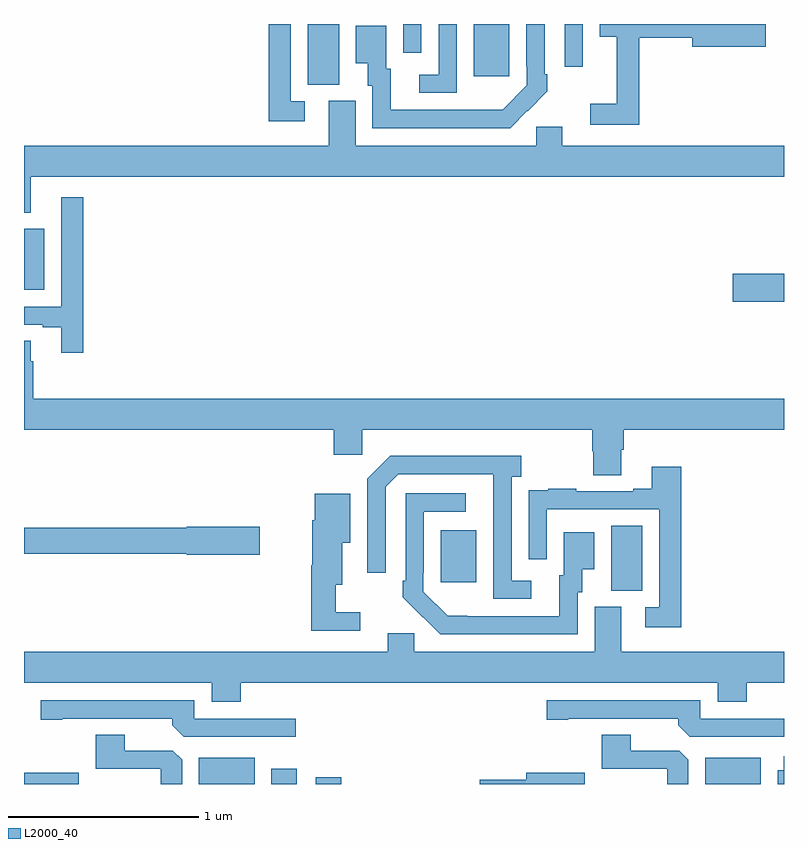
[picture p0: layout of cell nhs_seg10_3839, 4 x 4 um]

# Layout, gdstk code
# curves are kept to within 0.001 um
import gdstk
lib = gdstk.Library(unit=1e-6, precision=1e-09)
def R(c, l, rs):  # rectangles x0, y0, x1, y1
    for r in rs: c.add(gdstk.rectangle(r[:2], r[2:], *l))
def P(c, l, *ps):  # polygons
    for p in ps: c.add(gdstk.Polygon(p, *l))
L2000_40 = (2000, 40)

nhs_seg10_3839 = lib.new_cell('nhs_seg10_3839')
R(nhs_seg10_3839, L2000_40, [(323,1250.5,323.287,1250.56), (323.921,1250.5,324.214,1250.638), (324.302,1250.5,324.436,1250.581), (324.536,1250.5,324.671,1250.536), (326.585,1250.5,326.878,1250.638), (326.09,1251.517,326.254,1251.86), (325.193,1251.561,325.381,1251.835), (326.73,1253.039,327,1253.186), (323,1253.102,323.107,1253.422), (324.494,1254.181,324.658,1254.5), (325.367,1254.225,325.555,1254.499), (325.845,1254.276,325.941,1254.5), (324.996,1254.348,325.092,1254.5)])
P(nhs_seg10_3839, L2000_40, [(325.278,1254.5),(325.182,1254.5),(325.182,1254.234),(325.08,1254.234),(325.08,1254.138),(325.278,1254.138)],
  [(324.478,1254.093),(324.405,1254.093),(324.405,1254.5),(324.289,1254.5),(324.289,1253.988),(324.478,1253.988)],
  [(325.649,1254.043),(325.65,1254.042),(325.755,1254.147),(325.755,1254.235),(325.74,1254.235),(325.74,1254.5),(325.644,1254.5),(325.644,1254.277),(325.647,1254.277),(325.647,1254.177),(325.519,1254.049),(324.931,1254.048),(324.931,1254.264),(324.907,1254.264),(324.907,1254.49),(324.746,1254.49),(324.746,1254.293),(324.809,1254.293),(324.809,1254.174),(324.834,1254.174),(324.834,1253.952),(325.558,1253.952)],
  [(326.237,1254.427),(326.516,1254.427),(326.516,1254.38),(326.905,1254.38),(326.905,1254.5),(326.03,1254.5),(326.03,1254.434),(326.12,1254.434),(326.12,1254.079),(325.98,1254.079),(325.98,1253.97),(326.237,1253.97)],
  [(323.035,1253.696),(327,1253.696),(327,1253.86),(325.834,1253.86),(325.834,1253.958),(325.695,1253.958),(325.695,1253.86),(324.745,1253.86),(324.745,1254.096),(324.605,1254.096),(324.605,1253.86),(323,1253.86),(323,1253.507),(323.035,1253.507)],
  [(323.312,1253.587),(323.196,1253.587),(323.196,1253.013),(323,1253.013),(323,1252.917),(323.099,1252.917),(323.099,1252.905),(323.195,1252.905),(323.195,1252.77),(323.312,1252.77)],
  [(326.143,1252.258),(326.156,1252.258),(326.156,1252.364),(327,1252.364),(327,1252.528),(323.048,1252.528),(323.048,1252.724),(323.035,1252.724),(323.035,1252.832),(323,1252.832),(323,1252.364),(324.629,1252.364),(324.629,1252.233),(324.78,1252.233),(324.78,1252.364),(325.991,1252.364),(325.991,1252.251),(325.996,1252.251),(325.996,1252.126),(326.143,1252.126)],
  [(325.669,1251.57),(325.566,1251.57),(325.566,1252.118),(325.618,1252.118),(325.618,1252.228),(324.928,1252.228),(324.807,1252.107),(324.807,1251.612),(324.903,1251.612),(324.903,1252.065),(324.969,1252.131),(325.469,1252.131),(325.47,1251.474),(325.669,1251.474)],
  [(326.459,1252.171),(326.303,1252.171),(326.303,1252.054),(326.207,1252.054),(326.207,1252.041),(325.907,1252.041),(325.907,1252.054),(325.759,1252.054),(325.759,1252.047),(325.657,1252.047),(325.657,1251.938),(325.656,1251.938),(325.656,1251.684),(325.752,1251.684),(325.752,1251.945),(326.343,1251.945),(326.343,1251.429),(326.271,1251.429),(326.271,1251.324),(326.459,1251.324)],
  [(325.914,1251.51),(325.939,1251.51),(325.939,1251.629),(326.002,1251.629),(326.002,1251.826),(325.841,1251.826),(325.841,1251.6),(325.817,1251.6),(325.817,1251.384),(325.23,1251.385),(325.101,1251.513),(325.101,1251.613),(325.104,1251.613),(325.104,1251.933),(325.324,1251.933),(325.324,1252.029),(325.008,1252.029),(325.008,1251.571),(324.993,1251.571),(324.993,1251.483),(325.19,1251.288),(325.914,1251.288)],
  [(324.769,1251.403),(324.64,1251.403),(324.64,1251.548),(324.676,1251.548),(324.676,1251.77),(324.718,1251.77),(324.718,1252.027),(324.53,1252.027),(324.53,1251.888),(324.518,1251.888),(324.518,1251.652),(324.511,1251.652),(324.511,1251.306),(324.769,1251.306)],
  [(324.241,1251.854),(323.856,1251.854),(323.856,1251.848),(323,1251.848),(323,1251.712),(323.856,1251.712),(323.856,1251.707),(324.241,1251.707)],
  [(324.14,1251.032),(326.651,1251.032),(326.651,1250.933),(326.804,1250.933),(326.804,1251.032),(327,1251.032),(327,1251.196),(326.143,1251.196),(326.143,1251.432),(326.003,1251.432),(326.003,1251.196),(325.053,1251.196),(325.053,1251.294),(324.914,1251.294),(324.914,1251.196),(323,1251.196),(323,1251.032),(323.987,1251.032),(323.987,1250.933),(324.14,1250.933)],
  [(324.43,1250.844),(323.895,1250.844),(323.895,1250.94),(323.088,1250.94),(323.088,1250.839),(323.2,1250.839),(323.2,1250.844),(323.78,1250.844),(323.78,1250.81),(323.841,1250.748),(324.43,1250.748)],
  [(327,1250.844),(326.559,1250.844),(326.559,1250.94),(325.752,1250.94),(325.752,1250.839),(325.864,1250.839),(325.864,1250.844),(326.444,1250.844),(326.444,1250.81),(326.505,1250.748),(327,1250.748)],
  [(326.497,1250.627),(326.448,1250.676),(326.194,1250.676),(326.194,1250.759),(326.042,1250.759),(326.042,1250.58),(326.385,1250.58),(326.385,1250.5),(326.497,1250.5)],
  [(323.833,1250.627),(323.784,1250.676),(323.53,1250.676),(323.53,1250.759),(323.378,1250.759),(323.378,1250.58),(323.721,1250.58),(323.721,1250.5),(323.833,1250.5)],
  [(327,1250.647),(326.999,1250.647),(326.999,1250.572),(326.966,1250.572),(326.966,1250.5),(327,1250.5)],
  [(325.951,1250.56),(325.643,1250.56),(325.643,1250.522),(325.398,1250.522),(325.398,1250.5),(325.951,1250.5)])

lib.write_gds('nhs_seg10_3839.gds')
